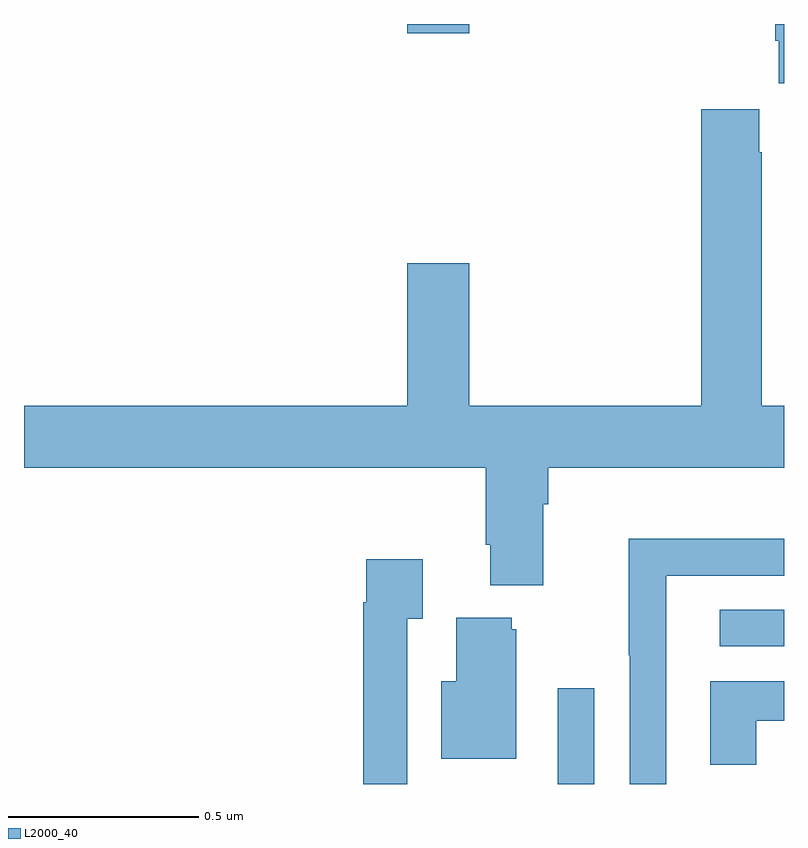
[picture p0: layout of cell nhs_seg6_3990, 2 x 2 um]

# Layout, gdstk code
import gdstk
lib = gdstk.Library(unit=1e-6, precision=1e-09)
def R(c, l, rs):  # rectangles x0, y0, x1, y1
    for r in rs: c.add(gdstk.rectangle(r[:2], r[2:], *l))
def P(c, l, *ps):  # polygons
    for p in ps: c.add(gdstk.Polygon(p, *l))
L2000_40 = (2000, 40)

nhs_seg6_3990 = lib.new_cell('nhs_seg6_3990')
R(nhs_seg6_3990, L2000_40, [(165.405,950.5,165.501,950.752), (165.831,950.862,166,950.958), (165.008,952.476,165.172,952.5)])
P(nhs_seg6_3990, L2000_40, [(166,952.5),(165.977,952.5),(165.977,952.456),(165.986,952.456),(165.986,952.344),(166,952.344)],
  [(165.367,951.236),(165.38,951.236),(165.38,951.332),(166,951.332),(166,951.496),(165.942,951.496),(165.942,952.163),(165.935,952.163),(165.935,952.276),(165.782,952.276),(165.782,951.496),(165.172,951.496),(165.172,951.871),(165.008,951.871),(165.008,951.496),(164,951.496),(164,951.332),(165.215,951.332),(165.215,951.13),(165.227,951.13),(165.227,951.023),(165.367,951.023)],
  [(165.69,951.048),(166,951.048),(166,951.146),(165.592,951.146),(165.592,950.839),(165.594,950.839),(165.594,950.5),(165.69,950.5)],
  [(165.009,950.935),(165.049,950.935),(165.049,951.091),(164.901,951.091),(164.901,950.978),(164.893,950.978),(164.893,950.5),(165.009,950.5)],
  [(165.295,950.907),(165.284,950.907),(165.284,950.938),(165.137,950.938),(165.137,950.77),(165.098,950.77),(165.098,950.567),(165.295,950.567)],
  [(165.927,950.666),(166,950.666),(166,950.77),(165.806,950.77),(165.806,950.551),(165.927,950.551)])

lib.write_gds('nhs_seg6_3990.gds')
